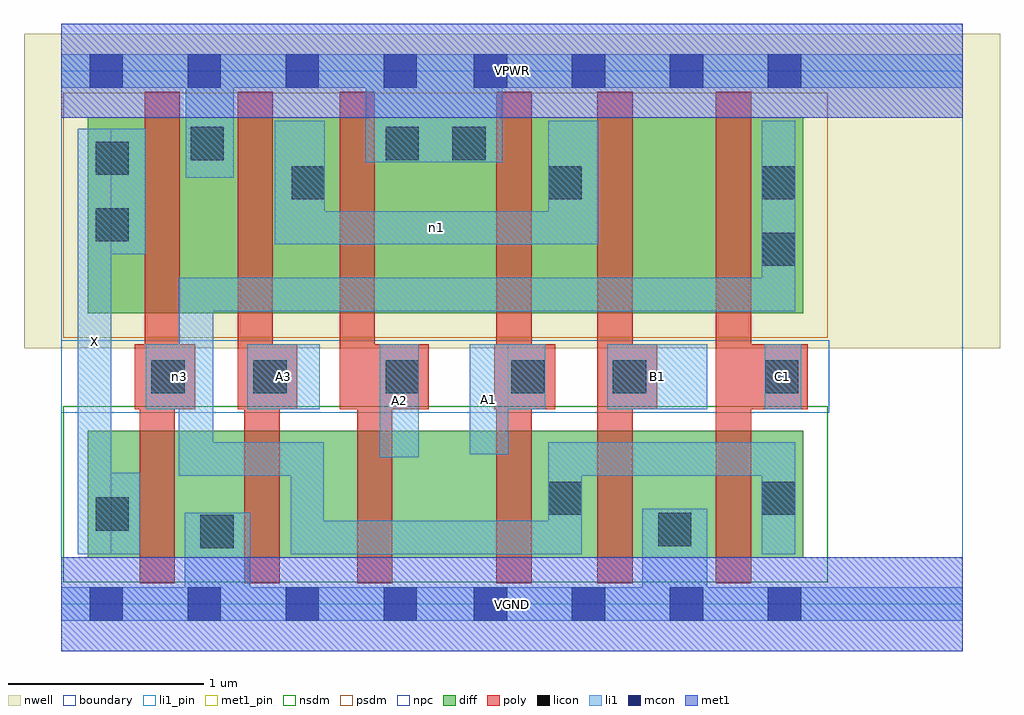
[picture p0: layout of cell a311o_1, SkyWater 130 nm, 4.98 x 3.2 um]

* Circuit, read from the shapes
.subckt a311o_1 A1 A2 A3 B1 C1 VGND VPWR X n1 n3
XM1 VGND n3 X VSUBS sky130_fd_pr__nfet_01v8 w=0.65 l=0.18
XM2 n2 A3 VGND VSUBS sky130_fd_pr__nfet_01v8 w=0.65 l=0.18
XM3 n4 A2 n2 VSUBS sky130_fd_pr__nfet_01v8 w=0.65 l=0.18
XM4 n3 A1 n4 VSUBS sky130_fd_pr__nfet_01v8 w=0.65 l=0.18
XM5 VGND B1 n3 VSUBS sky130_fd_pr__nfet_01v8 w=0.65 l=0.18
XM6 n3 C1 VGND VSUBS sky130_fd_pr__nfet_01v8 w=0.65 l=0.18
XM7 VPWR n3 X n5 sky130_fd_pr__pfet_01v8 w=1 l=0.18
XM8 n1 A3 VPWR n5 sky130_fd_pr__pfet_01v8 w=1 l=0.18
XM9 VPWR A2 n1 n5 sky130_fd_pr__pfet_01v8 w=1 l=0.18
XM10 n1 A1 VPWR n5 sky130_fd_pr__pfet_01v8 w=1 l=0.18
XM11 n6 B1 n1 n5 sky130_fd_pr__pfet_01v8 w=1 l=0.18
XM12 n3 C1 n6 n5 sky130_fd_pr__pfet_01v8 w=1 l=0.18
.ends

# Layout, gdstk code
import gdstk
lib = gdstk.Library(unit=1e-6, precision=1e-09)
def R(c, l, rs):  # rectangles x0, y0, x1, y1
    for r in rs: c.add(gdstk.rectangle(r[:2], r[2:], *l))
def A(c, l, x, y, w, h, nx, ny, dx, dy):  # array of equal rectangles
    R(c, l, [(x+i*dx, y+j*dy, x+i*dx+w, y+j*dy+h) for i in range(nx) for j in range(ny)])
nwell = (64, 20)
diff = (65, 20)
poly = (66, 20)
licon = (66, 44)
li1_pin = (67, 16)
li1 = (67, 20)
mcon = (67, 44)
met1_pin = (68, 16)
met1 = (68, 20)
nsdm = (93, 44)
psdm = (94, 20)
npc = (95, 20)
boundary = (235, 4)

a311o_1 = lib.new_cell('a311o_1')
R(a311o_1, nwell, [(-0.19,1.305,4.79,2.91), (0,1.305,4.6,2.91)])
R(a311o_1, diff, [(0.135,0.235,3.785,0.885), (0.135,1.485,3.785,2.485)])
R(a311o_1, poly, [(0.4,0.105,0.58,1.325), (0.935,0.105,1.115,1.325), (1.51,0.105,1.69,1.325), (2.22,0.105,2.4,2.615), (2.735,0.105,2.915,2.615), (3.34,0.105,3.52,2.615), (0.375,0.995,0.685,1.325), (0.425,0.995,0.605,2.615), (0.9,0.995,1.08,2.615), (0.9,0.995,1.205,1.325), (1.42,0.995,1.6,2.615), (1.42,0.995,1.875,1.325), (2.21,0.995,2.52,1.325), (2.735,0.995,3.04,1.325), (3.34,0.995,3.81,1.325)])
R(a311o_1, licon, [(0.71,0.285,0.88,0.455), (3.045,0.295,3.215,0.465), (0.175,0.375,0.345,0.545), (2.485,0.455,2.655,0.625), (3.575,0.455,3.745,0.625), (0.46,1.075,0.63,1.245), (0.98,1.075,1.15,1.245), (1.655,1.075,1.825,1.245), (2.295,1.075,2.465,1.245), (2.815,1.075,2.985,1.245), (3.59,1.075,3.76,1.245), (3.575,1.725,3.745,1.895), (0.175,1.85,0.345,2.02), (1.175,2.065,1.345,2.235), (2.485,2.065,2.655,2.235), (3.575,2.065,3.745,2.235), (0.175,2.19,0.345,2.36), (0.66,2.265,0.83,2.435), (1.655,2.265,1.825,2.435), (1.995,2.265,2.165,2.435)])
R(a311o_1, li1_pin, [(0.085,0.255,0.255,2.425), (1.625,0.75,1.825,1.325), (2.085,0.765,2.28,1.325), (0.95,0.995,1.32,1.325), (2.785,0.995,3.295,1.325), (3.59,0.995,3.775,1.325)])
R(a311o_1, li1, [(0,-0.085,4.6,0.085), (0.63,-0.085,0.965,0.465), (2.965,-0.085,3.295,0.485), (0.085,0.255,0.255,2.425), (0.085,0.255,0.4,0.67), (1.17,0.255,2.655,0.425), (1.17,0.255,1.34,0.825), (2.485,0.255,2.655,0.825), (3.575,0.255,3.745,0.825), (0.6,0.655,0.775,1.665), (0.6,0.655,1.34,0.825), (2.485,0.655,3.745,0.825), (1.625,0.75,1.825,1.325), (2.085,0.765,2.28,1.325), (0.43,0.995,0.775,1.325), (0.95,0.995,1.32,1.325), (2.085,0.995,2.47,1.325), (2.785,0.995,3.295,1.325), (3.59,0.995,3.775,1.325), (0.6,1.495,3.745,1.665), (3.575,1.495,3.745,2.465), (0.085,1.785,0.43,2.425), (1.09,1.835,2.74,2.005), (1.09,1.835,1.345,2.465), (2.485,1.835,2.74,2.465), (0.635,2.175,0.88,2.805), (1.555,2.255,2.25,2.805), (0,2.635,4.6,2.805)])
A(a311o_1, mcon, 0.145, -0.085, 0.17, 0.17, 4, 2, 0.5, 2.72)
A(a311o_1, mcon, 2.105, -0.085, 0.17, 0.17, 4, 2, 0.5, 2.72)
R(a311o_1, met1_pin, [(0,-0.24,4.6,0.24), (0,2.48,4.6,2.96)])
R(a311o_1, met1, [(0,-0.24,4.6,0.24), (0,2.48,4.6,2.96)])
R(a311o_1, nsdm, [(0.01,0.11,3.91,1.01)])
R(a311o_1, psdm, [(0.01,1.36,3.91,2.61)])
R(a311o_1, npc, [(0,0.975,3.92,1.345)])
R(a311o_1, boundary, [(0,0,4.6,2.72)])
a311o_1.add(gdstk.Label('A1', (2.182,1.045), layer=67, texttype=5))
a311o_1.add(gdstk.Label('A2', (1.725,1.037), layer=67, texttype=5))
a311o_1.add(gdstk.Label('A3', (1.135,1.16), layer=67, texttype=5))
a311o_1.add(gdstk.Label('B1', (3.04,1.16), layer=67, texttype=5))
a311o_1.add(gdstk.Label('C1', (3.682,1.16), layer=67, texttype=5))
a311o_1.add(gdstk.Label('X', (0.17,1.34), layer=67, texttype=5))
a311o_1.add(gdstk.Label('n1', (1.915,1.92), layer=67, texttype=5))
a311o_1.add(gdstk.Label('n3', (0.602,1.16), layer=67, texttype=5))
a311o_1.add(gdstk.Label('VPWR', (2.3,2.72), layer=68, texttype=5))
a311o_1.add(gdstk.Label('VGND', (2.3,0), layer=68, texttype=5))
a311o_1.add(gdstk.Label('A1', (2.182,1.045), layer=67, texttype=16))
a311o_1.add(gdstk.Label('A2', (1.725,1.037), layer=67, texttype=16))
a311o_1.add(gdstk.Label('A3', (1.135,1.16), layer=67, texttype=16))
a311o_1.add(gdstk.Label('B1', (3.04,1.16), layer=67, texttype=16))
a311o_1.add(gdstk.Label('C1', (3.682,1.16), layer=67, texttype=16))
a311o_1.add(gdstk.Label('X', (0.17,1.34), layer=67, texttype=16))
a311o_1.add(gdstk.Label('VPWR', (2.3,2.72), layer=68, texttype=16))
a311o_1.add(gdstk.Label('VGND', (2.3,0), layer=68, texttype=16))

lib.write_gds('a311o_1.gds')
